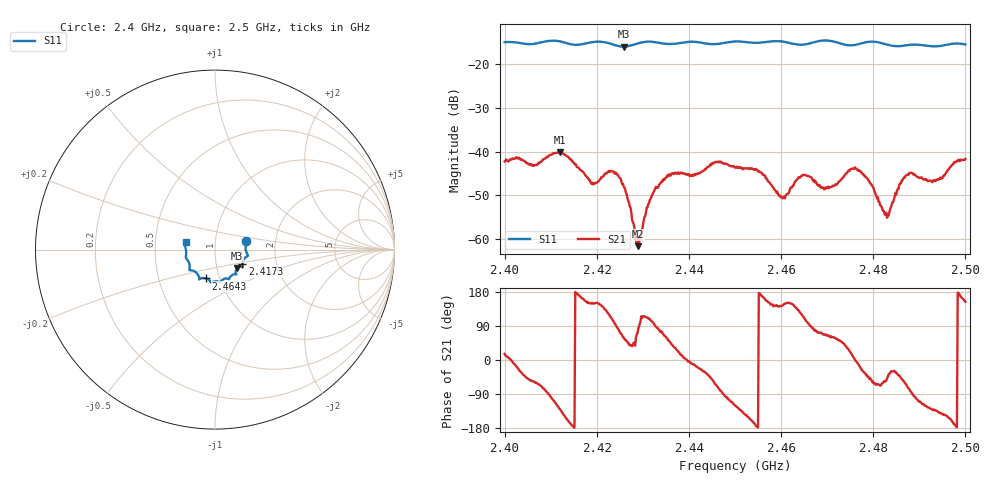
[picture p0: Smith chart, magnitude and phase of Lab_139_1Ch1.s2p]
# Hz S RI R 50
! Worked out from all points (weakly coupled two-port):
!   601 points, 2.4 GHz to 2.5 GHz, reference 50 ohm
!   highest |S21| = -40.19 dB at 2.412 GHz (marker M1); lowest = -61.7 dB at 2.429 GHz (marker M2)
!   lowest |S11| = -15.9 dB at 2.4258 GHz (marker M3), VSWR 1.38, Z = 62.3 - j13.2 ohm
!   |S11| at or under -10 dB: start of sweep to end of sweep
!   S12 and S22 are empty: the file has one direction only
!   S11 on the Smith chart (normalised r, x): 2.4 GHz: 1.41, +0.14; 2.4173 GHz: 1.34, -0.23; 2.4643 GHz: 0.86, -0.28; 2.5 GHz: 0.72, +0.06
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2.4e9  0.173 0.0491  0.00739 0.00215  0 0  0 0
2.4065e9  0.1722 -0.0045  0.00375 -0.00587  0 0  0 0
2.412e9  0.18 -0.0373  -0.00626 -0.00753  0 0  0 0
2.416667e9  0.1528 -0.0744  -0.00585 0.00161  0 0  0 0
2.417333e9  0.1521 -0.0817  -0.00514 0.00213  0 0  0 0
2.419333e9  0.1536 -0.0959  -0.00369 0.00223  0 0  0 0
2.423167e9  0.1441 -0.0938  -0.00207 0.00558  0 0  0 0
2.425833e9  0.1216 -0.1035  0.00202 0.00343  0 0  0 0
2.429e9  0.1158 -0.1311  0.000117 0.000813  0 0  0 0
2.433333e9  0.113 -0.137  0.000508 0.00386  0 0  0 0
2.445667e9  0.0506 -0.1632  0.00342 -0.00676  0 0  0 0
2.45e9  0.0294 -0.1809  -0.00323 -0.00565  0 0  0 0
2.455333e9  -0.00111 -0.1772  -0.00584 0.000432  0 0  0 0
2.460333e9  -0.0243 -0.1813  -0.00235 0.00171  0 0  0 0
2.464333e9  -0.0499 -0.1606  -0.00273 0.00446  0 0  0 0
2.466667e9  -0.0757 -0.1596  0.000442 0.00497  0 0  0 0
2.469833e9  -0.0878 -0.1665  0.00163 0.00342  0 0  0 0
2.4765e9  -0.1217 -0.1176  0.0062 -0.000654  0 0  0 0
2.483333e9  -0.1407 -0.0898  0.00146 -0.00115  0 0  0 0
2.4875e9  -0.1577 -0.0532  0.00167 -0.00521  0 0  0 0
2.493167e9  -0.1608 -0.0119  -0.00301 -0.00353  0 0  0 0
2.5e9  -0.1642 0.0424  -0.00736 0.00364  0 0  0 0
